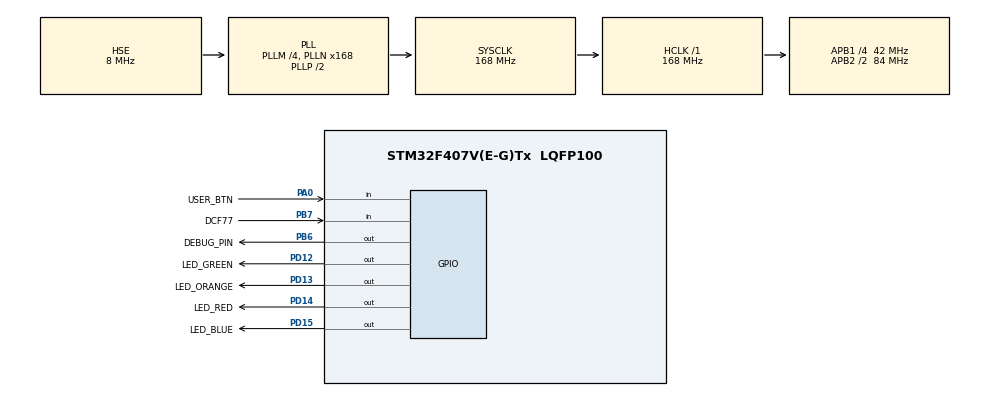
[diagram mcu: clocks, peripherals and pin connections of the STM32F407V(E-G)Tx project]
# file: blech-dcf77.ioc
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Mcu.Family=STM32F4
Mcu.Name=STM32F407V(E-G)Tx
Mcu.Package=LQFP100
NVIC.PriorityGroup=NVIC_PRIORITYGROUP_4
PA0-WKUP.GPIO_Label=USER_BTN
PA0-WKUP.Signal=GPIO_Input
PA13.Mode=Serial_Wire
PA13.Signal=SYS_JTMS-SWDIO
PA14.Mode=Serial_Wire
PA14.Signal=SYS_JTCK-SWCLK
PB6.GPIO_Label=DEBUG_PIN
PB6.Signal=GPIO_Output
PB7.GPIO_Label=DCF77
PB7.GPIO_PuPd=GPIO_PULLUP
PB7.Signal=GPIO_Input
PD12.GPIO_Label=LED_GREEN
PD12.Signal=GPIO_Output
PD13.GPIO_Label=LED_ORANGE
PD13.Signal=GPIO_Output
PD14.GPIO_Label=LED_RED
PD14.Signal=GPIO_Output
PD15.GPIO_Label=LED_BLUE
PD15.Signal=GPIO_Output
PH0-OSC_IN.Mode=HSE-External-Oscillator
PH0-OSC_IN.Signal=RCC_OSC_IN
PH1-OSC_OUT.Mode=HSE-External-Oscillator
PH1-OSC_OUT.Signal=RCC_OSC_OUT
ProjectManager.HeapSize=0x200
ProjectManager.StackSize=0x400
ProjectManager.TargetToolchain=STM32CubeIDE
RCC.48MHZClocksFreq_Value=84000000
RCC.AHBFreq_Value=168000000
RCC.APB1CLKDivider=RCC_HCLK_DIV4
RCC.APB1Freq_Value=42000000
RCC.APB1TimFreq_Value=84000000
RCC.APB2CLKDivider=RCC_HCLK_DIV2
RCC.APB2Freq_Value=84000000
RCC.APB2TimFreq_Value=168000000
RCC.CortexFreq_Value=168000000
RCC.HCLKFreq_Value=168000000
RCC.HSE_VALUE=8000000
RCC.HSI_VALUE=16000000
RCC.LSE_VALUE=32768
RCC.PLLM=4
RCC.PLLN=168
RCC.PLLSourceVirtual=RCC_PLLSOURCE_HSE
RCC.SYSCLKFreq_VALUE=168000000
RCC.SYSCLKSource=RCC_SYSCLKSOURCE_PLLCLK
RCC.VCOOutputFreq_Value=336000000
board=custom

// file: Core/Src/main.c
/* USER CODE BEGIN Header */
/**
  ******************************************************************************
  * @file           : main.c
  * @brief          : Main program body
  ******************************************************************************
  * @attention
  *
  * <h2><center>&copy; Copyright (c) 2020 STMicroelectronics.
  * All rights reserved.</center></h2>
  *
  * This software component is licensed by ST under BSD 3-Clause license,
  * the "License"; You may not use this file except in compliance with the
  * License. You may obtain a copy of the License at:
  *                        opensource.org/licenses/BSD-3-Clause
  *
  ******************************************************************************
  */
/* USER CODE END Header */

#include "main.h"
#include "gpio.h"

/* USER CODE BEGIN Includes */
#include "blech/control.h"
/* USER CODE END Includes */

/* USER CODE BEGIN PM */
#define LED_SET_STATE()
/* USER CODE END PM */

void SystemClock_Config(void);

/* USER CODE BEGIN 0 */
void perform_reaction (void)
{
	HAL_GPIO_WritePin(DEBUG_PIN_GPIO_Port, DEBUG_PIN_Pin, GPIO_PIN_SET);

	struct blc_control_LedStates leds;
	leds.green = HAL_GPIO_ReadPin(LED_GREEN_GPIO_Port, LED_GREEN_Pin);
	leds.orange = HAL_GPIO_ReadPin(LED_ORANGE_GPIO_Port, LED_ORANGE_Pin);
	leds.red = HAL_GPIO_ReadPin(LED_RED_GPIO_Port, LED_RED_Pin);
	leds.blue = HAL_GPIO_ReadPin(LED_BLUE_GPIO_Port, LED_BLUE_Pin);

	uint8_t dcf77 = (HAL_GPIO_ReadPin(DCF77_GPIO_Port, DCF77_Pin) == GPIO_PIN_SET) ? 1 : 0;
	uint8_t btn = (HAL_GPIO_ReadPin(USER_BTN_GPIO_Port, USER_BTN_Pin) == GPIO_PIN_SET) ? 1 : 0; // Active 'LOW'.

	blc_blech_control_tick(dcf77, btn, &leds);

	HAL_GPIO_WritePin(LED_GREEN_GPIO_Port, LED_GREEN_Pin, leds.green);
	HAL_GPIO_WritePin(LED_ORANGE_GPIO_Port, LED_ORANGE_Pin, leds.orange);
	HAL_GPIO_WritePin(LED_RED_GPIO_Port, LED_RED_Pin, leds.red);
	HAL_GPIO_WritePin(LED_BLUE_GPIO_Port, LED_BLUE_Pin, leds.blue);

	HAL_GPIO_WritePin(DEBUG_PIN_GPIO_Port, DEBUG_PIN_Pin, GPIO_PIN_RESET);
}
/* USER CODE END 0 */

int main(void)
{

  /* MCU Configuration--------------------------------------------------------*/

  /* Reset of all peripherals, Initializes the Flash interface and the Systick. */
  HAL_Init();

  /* Configure the system clock */
  SystemClock_Config();

  /* Initialize all configured peripherals */
  MX_GPIO_Init();
  /* USER CODE BEGIN 2 */
  blc_blech_control_init();
  perform_reaction();
  /* USER CODE END 2 */

  /* Infinite loop */
  /* USER CODE BEGIN WHILE */
  while (1)
  {
	  HAL_Delay(10);
	  perform_reaction();
    /* USER CODE END WHILE */

  }
}

void SystemClock_Config(void)
{
  RCC_OscInitTypeDef RCC_OscInitStruct = {0};
  RCC_ClkInitTypeDef RCC_ClkInitStruct = {0};

  /** Configure the main internal regulator output voltage
  */
  __HAL_RCC_PWR_CLK_ENABLE();
  __HAL_PWR_VOLTAGESCALING_CONFIG(PWR_REGULATOR_VOLTAGE_SCALE1);
  /** Initializes the CPU, AHB and APB busses clocks
  */
  RCC_OscInitStruct.OscillatorType = RCC_OSCILLATORTYPE_HSE;
  RCC_OscInitStruct.HSEState = RCC_HSE_ON;
  RCC_OscInitStruct.PLL.PLLState = RCC_PLL_ON;
  RCC_OscInitStruct.PLL.PLLSource = RCC_PLLSOURCE_HSE;
  RCC_OscInitStruct.PLL.PLLM = 4;
  RCC_OscInitStruct.PLL.PLLN = 168;
  RCC_OscInitStruct.PLL.PLLP = RCC_PLLP_DIV2;
  RCC_OscInitStruct.PLL.PLLQ = 4;
  if (HAL_RCC_OscConfig(&RCC_OscInitStruct) != HAL_OK)
  {
    Error_Handler();
  }
  /** Initializes the CPU, AHB and APB busses clocks
  */
  RCC_ClkInitStruct.ClockType = RCC_CLOCKTYPE_HCLK|RCC_CLOCKTYPE_SYSCLK
                              |RCC_CLOCKTYPE_PCLK1|RCC_CLOCKTYPE_PCLK2;
  RCC_ClkInitStruct.SYSCLKSource = RCC_SYSCLKSOURCE_PLLCLK;
  RCC_ClkInitStruct.AHBCLKDivider = RCC_SYSCLK_DIV1;
  RCC_ClkInitStruct.APB1CLKDivider = RCC_HCLK_DIV4;
  RCC_ClkInitStruct.APB2CLKDivider = RCC_HCLK_DIV2;

  if (HAL_RCC_ClockConfig(&RCC_ClkInitStruct, FLASH_LATENCY_5) != HAL_OK)
  {
    Error_Handler();
  }
}

void Error_Handler(void)
{
}

/************************ (C) COPYRIGHT STMicroelectronics *****END OF FILE****/
